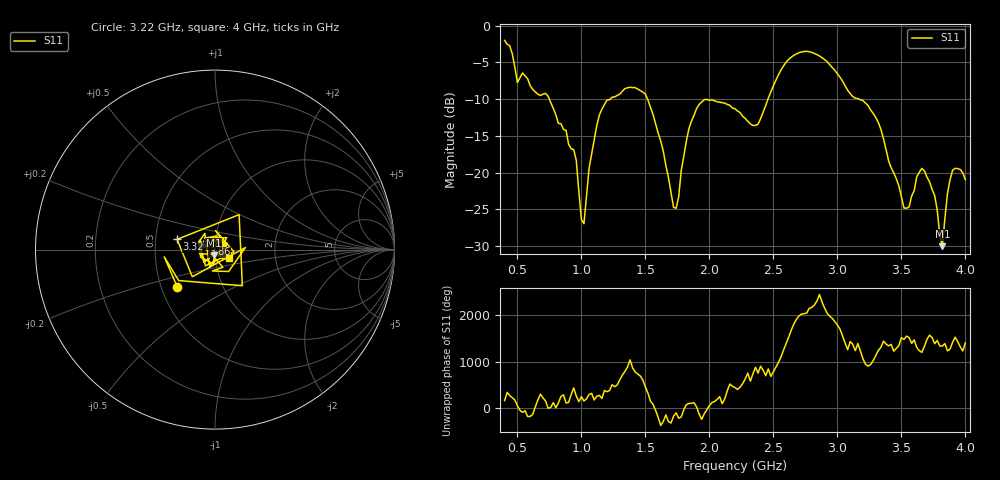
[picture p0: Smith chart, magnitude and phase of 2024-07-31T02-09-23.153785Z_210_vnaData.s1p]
!Created with skrf (http://scikit-rf.org).
# Hz S RI R 50.0
!freq ReS11 ImS11
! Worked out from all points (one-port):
!   181 points, 400 MHz to 4 GHz, reference 50 ohm
!   lowest |S11| = -30.0 dB at 3.82 GHz (marker M1), VSWR 1.07, Z = 49.3 - j3.05 ohm
!   |S11| at or under -10 dB: 749 MHz to 1.226 GHz (476.5 MHz wide, 48.3 % of centre); 1.516 GHz to 2.458 GHz (941.2 MHz wide, 47.4 % of centre); 3.168 GHz to end of sweep
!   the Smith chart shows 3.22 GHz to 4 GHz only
!   S11 on the Smith chart (normalised r, x): 3.22 GHz: 0.61, -0.28; 3.32 GHz: 0.65, +0.08; 3.86 GHz: 0.88, +0.05; 4 GHz: 1.16, -0.11
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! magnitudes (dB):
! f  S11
! 400 MHz  -2.0
! 500 MHz  -7.7
! 720 MHz  -9.2
! 860 MHz  -14.1
! 960 MHz  -18.3
! 1 GHz  -26.4
! 1.02 GHz  -27.0
! 1.06 GHz  -19.4
! 1.14 GHz  -12.2
! 1.3 GHz  -9.3
! 1.5 GHz  -9.3
! 1.72 GHz  -24.7
! 1.76 GHz  -23.3
! 1.84 GHz  -14.0
! 1.92 GHz  -10.7
! 2.2 GHz  -11.3
! 2.38 GHz  -13.4
! 2.66 GHz  -4.0
! 3.1 GHz  -9.3
! 3.22 GHz  -10.6
! 3.32 GHz  -13.2
! 3.56 GHz  -24.7
! 3.68 GHz  -19.8
! 3.76 GHz  -23.1
! 3.82 GHz  -30.0
! 3.86 GHz  -22.9
! 3.9 GHz  -19.7
! 4 GHz  -21.0
